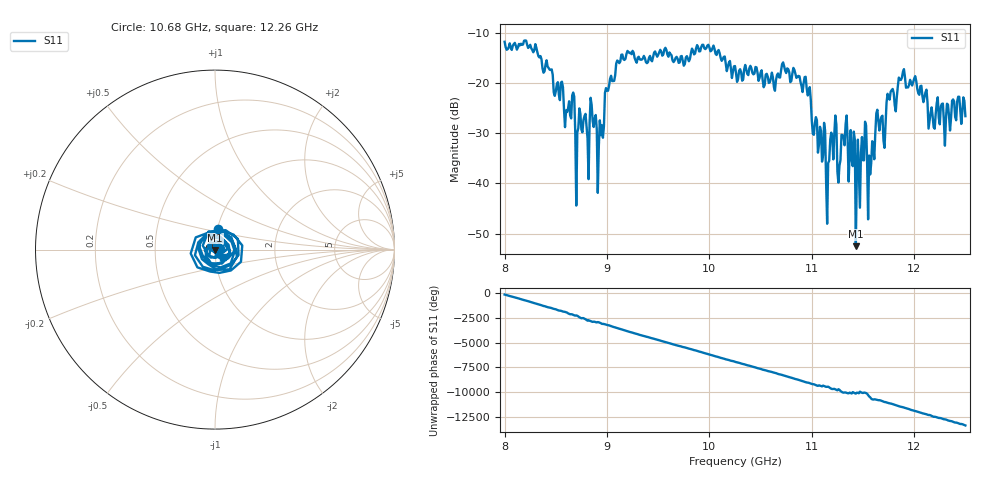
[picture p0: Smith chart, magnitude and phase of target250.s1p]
#  HZ  S  RI  R  50.00
! Rohde & Schwarz Vector Network Analyzer
! Rohde-Schwarz,ZNA43-4Port,1332450044101932,2.92
! Created: UTC 6/9/2026, 6:48:15 AM
! freq[Hz]  re:S11  im:S11
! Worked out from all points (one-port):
!   451 points, 8 GHz to 12.5 GHz, reference 50 ohm
!   lowest |S11| = -52.5 dB at 11.43 GHz (marker M1), VSWR 1.00, Z = 50 - j0.232 ohm
!   |S11| at or under -10 dB: start of sweep to end of sweep
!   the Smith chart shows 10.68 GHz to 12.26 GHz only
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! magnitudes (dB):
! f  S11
! 8 GHz  -11.8
! 8.31 GHz  -13.0
! 8.57 GHz  -20.9
! 8.66 GHz  -22.5
! 8.71 GHz  -29.9
! 8.86 GHz  -27.6
! 8.92 GHz  -32.7
! 9 GHz  -21.5
! 9.13 GHz  -15.7
! 9.69 GHz  -15.2
! 9.98 GHz  -12.6
! 10.25 GHz  -16.6
! 10.82 GHz  -17.0
! 10.96 GHz  -22.5
! 11.16 GHz  -36.0
! 11.22 GHz  -30.1
! 11.27 GHz  -36.5
! 11.32 GHz  -32.4
! 11.38 GHz  -29.4
! 11.43 GHz  -52.5
! 11.45 GHz  -31.3
! 11.51 GHz  -35.4
! 11.56 GHz  -34.5
! 11.65 GHz  -27.6
! 11.88 GHz  -19.0
! 11.94 GHz  -20.9
! 12.18 GHz  -26.6
! 12.5 GHz  -26.6
